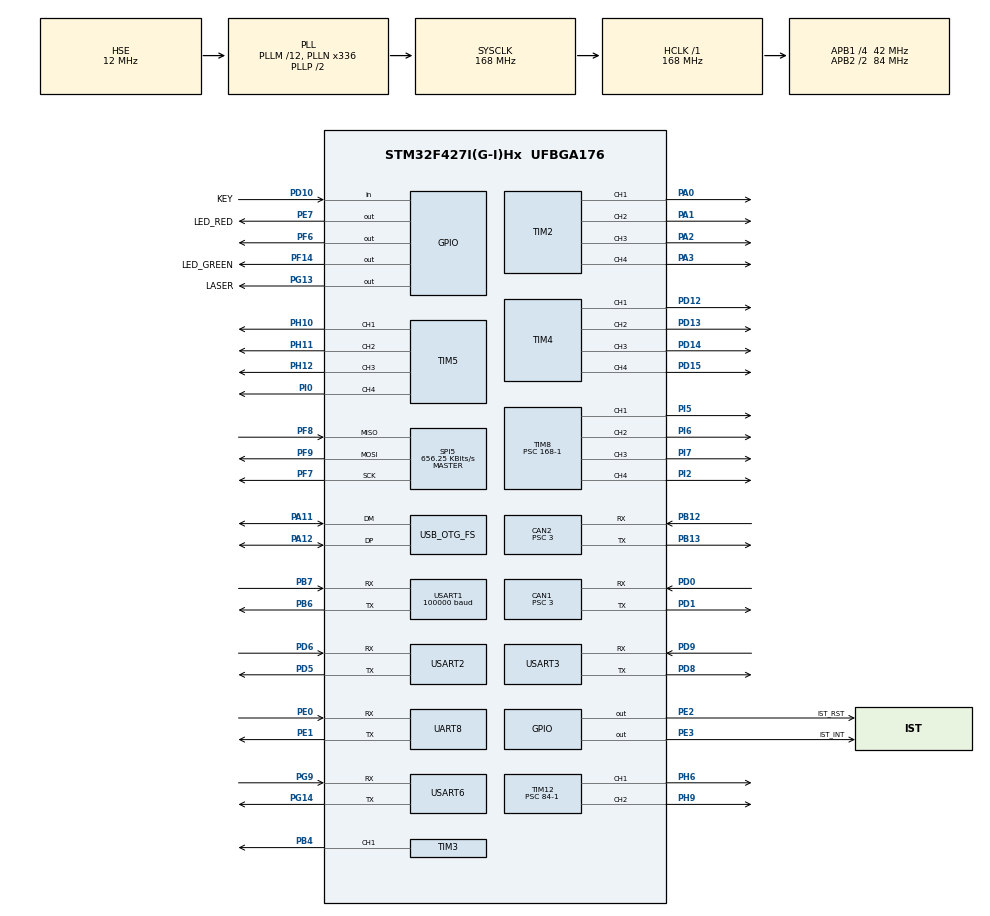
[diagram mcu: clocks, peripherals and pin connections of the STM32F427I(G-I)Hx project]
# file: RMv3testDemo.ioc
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CAN1.ABOM=DISABLE
CAN1.BS1=CAN_BS1_9TQ
CAN1.BS2=CAN_BS2_4TQ
CAN1.CalculateTimeBit=1000
CAN1.CalculateTimeQuantum=71.42857142857143
CAN1.Mode=CAN_MODE_LOOPBACK
CAN1.Prescaler=3
CAN1.SJW=CAN_SJW_1TQ
CAN1.TXFP=ENABLE
CAN2.ABOM=DISABLE
CAN2.BS1=CAN_BS1_9TQ
CAN2.BS2=CAN_BS2_4TQ
CAN2.CalculateTimeBit=1000
CAN2.CalculateTimeQuantum=71.42857142857143
CAN2.Mode=CAN_MODE_LOOPBACK
CAN2.Prescaler=3
CAN2.TXFP=ENABLE
Dma.Request0=USART1_RX
Dma.USART1_RX.0.Direction=DMA_PERIPH_TO_MEMORY
Dma.USART1_RX.0.FIFOMode=DMA_FIFOMODE_DISABLE
Dma.USART1_RX.0.Instance=DMA2_Stream2
Dma.USART1_RX.0.MemDataAlignment=DMA_MDATAALIGN_BYTE
Dma.USART1_RX.0.MemInc=DMA_MINC_ENABLE
Dma.USART1_RX.0.Mode=DMA_CIRCULAR
Dma.USART1_RX.0.PeriphDataAlignment=DMA_PDATAALIGN_BYTE
Dma.USART1_RX.0.PeriphInc=DMA_PINC_DISABLE
Dma.USART1_RX.0.Priority=DMA_PRIORITY_LOW
FREERTOS.Tasks01=defaultTask,0,128,StartDefaultTask,Default,NULL
Mcu.Family=STM32F4
Mcu.Name=STM32F427I(G-I)Hx
Mcu.Package=UFBGA176
NVIC.CAN1_RX0_IRQn=true\:7\:0\:true\:false\:true\:true\:true
NVIC.CAN1_TX_IRQn=true\:6\:0\:true\:false\:true\:true\:true
NVIC.CAN2_RX0_IRQn=true\:7\:0\:true\:false\:true\:true\:true
NVIC.CAN2_TX_IRQn=true\:6\:0\:true\:false\:true\:true\:true
NVIC.DMA2_Stream2_IRQn=true\:5\:0\:false\:false\:true\:true\:true
NVIC.OTG_FS_IRQn=true\:12\:0\:true\:false\:true\:true\:true
NVIC.PriorityGroup=NVIC_PRIORITYGROUP_4
NVIC.TIM6_DAC_IRQn=true\:11\:0\:true\:false\:true\:true\:true
NVIC.UART8_IRQn=true\:8\:0\:true\:false\:true\:true\:true
NVIC.USART1_IRQn=true\:5\:0\:true\:false\:true\:true\:true
NVIC.USART2_IRQn=true\:10\:0\:true\:false\:true\:true\:true
NVIC.USART3_IRQn=true\:10\:0\:true\:false\:true\:true\:true
PA0/WKUP.Signal=S_TIM2_CH1_ETR
PA1.Signal=S_TIM2_CH2
PA11.Mode=Device_Only
PA11.Signal=USB_OTG_FS_DM
PA12.GPIO_PuPd=GPIO_PULLUP
PA12.Mode=Device_Only
PA12.Signal=USB_OTG_FS_DP
PA13.Mode=Serial_Wire
PA13.Signal=SYS_JTMS-SWDIO
PA14.Mode=Serial_Wire
PA14.Signal=SYS_JTCK-SWCLK
PA2.Signal=S_TIM2_CH3
PA3.Signal=S_TIM2_CH4
PB12.Mode=Slave
PB12.Signal=CAN2_RX
PB13.Mode=Slave
PB13.Signal=CAN2_TX
PB4.Signal=S_TIM3_CH1
PB6.Mode=Multiprocessor_communication
PB6.Signal=USART1_TX
PB7.Mode=Multiprocessor_communication
PB7.Signal=USART1_RX
PD0.Mode=Master
PD0.Signal=CAN1_RX
PD1.Mode=Master
PD1.Signal=CAN1_TX
PD10.GPIO_Label=KEY
PD10.Signal=GPIO_Input
PD12.Signal=S_TIM4_CH1
PD13.Signal=S_TIM4_CH2
PD14.Signal=S_TIM4_CH3
PD15.Signal=S_TIM4_CH4
PD5.Mode=Multiprocessor_communication
PD5.Signal=USART2_TX
PD6.Mode=Multiprocessor_communication
PD6.Signal=USART2_RX
PD8.Mode=Multiprocessor_communication
PD8.Signal=USART3_TX
PD9.Mode=Multiprocessor_communication
PD9.Signal=USART3_RX
PE0.Mode=Asynchronous
PE0.Signal=UART8_RX
PE1.Mode=Asynchronous
PE1.Signal=UART8_TX
PE2.GPIO_Label=IST_RST
PE2.GPIO_Speed=GPIO_SPEED_FREQ_VERY_HIGH
PE2.Signal=GPIO_Output
PE3.GPIO_Label=IST_INT
PE3.GPIO_Speed=GPIO_SPEED_FREQ_VERY_HIGH
PE3.Signal=GPIO_Output
PE7.GPIO_Label=LED_RED
PE7.Signal=GPIO_Output
PF14.GPIO_Label=LED_GREEN
PF14.Signal=GPIO_Output
PF6.Signal=GPIO_Output
PF7.Mode=Full_Duplex_Master
PF7.Signal=SPI5_SCK
PF8.Mode=Full_Duplex_Master
PF8.Signal=SPI5_MISO
PF9.Mode=Full_Duplex_Master
PF9.Signal=SPI5_MOSI
PG13.GPIO_Label=LASER
PG13.Signal=GPIO_Output
PG14.Mode=Multiprocessor_communication
PG14.Signal=USART6_TX
PG9.Mode=Multiprocessor_communication
PG9.Signal=USART6_RX
PH0/OSC_IN.Mode=HSE-External-Oscillator
PH0/OSC_IN.Signal=RCC_OSC_IN
PH1/OSC_OUT.Mode=HSE-External-Oscillator
PH1/OSC_OUT.Signal=RCC_OSC_OUT
PH10.Signal=S_TIM5_CH1
PH11.Signal=S_TIM5_CH2
PH12.Signal=S_TIM5_CH3
PH6.Signal=S_TIM12_CH1
PH9.Signal=S_TIM12_CH2
PI0.Signal=S_TIM5_CH4
PI2.Signal=S_TIM8_CH4
PI5.Signal=S_TIM8_CH1
PI6.Signal=S_TIM8_CH2
PI7.Signal=S_TIM8_CH3
ProjectManager.HeapSize=0x1000
ProjectManager.StackSize=0x400
ProjectManager.TargetToolchain=SW4STM32
RCC.48MHZClocksFreq_Value=48000000
RCC.AHBFreq_Value=168000000
RCC.APB1CLKDivider=RCC_HCLK_DIV4
RCC.APB1Freq_Value=42000000
RCC.APB1TimFreq_Value=84000000
RCC.APB2CLKDivider=RCC_HCLK_DIV2
RCC.APB2Freq_Value=84000000
RCC.APB2TimFreq_Value=168000000
RCC.CortexFreq_Value=168000000
RCC.HCLKFreq_Value=168000000
RCC.HSE_VALUE=12000000
RCC.HSI_VALUE=16000000
RCC.LSE_VALUE=32768
RCC.PLLM=12
RCC.PLLN=336
RCC.PLLQ=7
RCC.SYSCLKFreq_VALUE=168000000
RCC.SYSCLKSource=RCC_SYSCLKSOURCE_PLLCLK
RCC.VCOOutputFreq_Value=336000000
SH.S_TIM12_CH1.0=TIM12_CH1,PWM Generation1 CH1
SH.S_TIM12_CH2.0=TIM12_CH2,PWM Generation2 CH2
SH.S_TIM2_CH1_ETR.0=TIM2_CH1,PWM Generation1 CH1
SH.S_TIM2_CH2.0=TIM2_CH2,PWM Generation2 CH2
SH.S_TIM2_CH3.0=TIM2_CH3,PWM Generation3 CH3
SH.S_TIM2_CH4.0=TIM2_CH4,PWM Generation4 CH4
SH.S_TIM3_CH1.0=TIM3_CH1,PWM Generation1 CH1
SH.S_TIM4_CH1.0=TIM4_CH1,PWM Generation1 CH1
SH.S_TIM4_CH2.0=TIM4_CH2,PWM Generation2 CH2
SH.S_TIM4_CH3.0=TIM4_CH3,PWM Generation3 CH3
SH.S_TIM4_CH4.0=TIM4_CH4,PWM Generation4 CH4
SH.S_TIM5_CH1.0=TIM5_CH1,PWM Generation1 CH1
SH.S_TIM5_CH2.0=TIM5_CH2,PWM Generation2 CH2
SH.S_TIM5_CH3.0=TIM5_CH3,PWM Generation3 CH3
SH.S_TIM5_CH4.0=TIM5_CH4,PWM Generation4 CH4
SH.S_TIM8_CH1.0=TIM8_CH1,PWM Generation1 CH1
SH.S_TIM8_CH2.0=TIM8_CH2,PWM Generation2 CH2
SH.S_TIM8_CH3.0=TIM8_CH3,PWM Generation3 CH3
SH.S_TIM8_CH4.0=TIM8_CH4,PWM Generation4 CH4
SPI5.BaudRatePrescaler=SPI_BAUDRATEPRESCALER_128
SPI5.CalculateBaudRate=656.25 KBits/s
SPI5.Direction=SPI_DIRECTION_2LINES
SPI5.Mode=SPI_MODE_MASTER
SPI5.VirtualType=VM_MASTER
TIM12.Channel-PWM\ Generation1\ CH1=TIM_CHANNEL_1
TIM12.Channel-PWM\ Generation2\ CH2=TIM_CHANNEL_2
TIM12.Period=2500-1
TIM12.Prescaler=84-1
TIM12.Pulse-PWM\ Generation1\ CH1=1000
TIM2.Channel-PWM\ Generation1\ CH1=TIM_CHANNEL_1
TIM2.Channel-PWM\ Generation2\ CH2=TIM_CHANNEL_2
TIM2.Channel-PWM\ Generation3\ CH3=TIM_CHANNEL_3
TIM2.Channel-PWM\ Generation4\ CH4=TIM_CHANNEL_4
TIM3.Channel-PWM\ Generation1\ CH1=TIM_CHANNEL_1
TIM3.Prescaler=84-1
TIM4.Channel-PWM\ Generation1\ CH1=TIM_CHANNEL_1
TIM4.Channel-PWM\ Generation2\ CH2=TIM_CHANNEL_2
TIM4.Channel-PWM\ Generation3\ CH3=TIM_CHANNEL_3
TIM4.Channel-PWM\ Generation4\ CH4=TIM_CHANNEL_4
TIM5.Channel-PWM\ Generation1\ CH1=TIM_CHANNEL_1
TIM5.Channel-PWM\ Generation2\ CH2=TIM_CHANNEL_2
TIM5.Channel-PWM\ Generation3\ CH3=TIM_CHANNEL_3
TIM5.Channel-PWM\ Generation4\ CH4=TIM_CHANNEL_4
TIM6.Period=1000
TIM6.Prescaler=84-1
TIM8.Channel-PWM\ Generation1\ CH1=TIM_CHANNEL_1
TIM8.Channel-PWM\ Generation2\ CH2=TIM_CHANNEL_2
TIM8.Channel-PWM\ Generation3\ CH3=TIM_CHANNEL_3
TIM8.Channel-PWM\ Generation4\ CH4=TIM_CHANNEL_4
TIM8.Prescaler=168-1
UART8.VirtualMode=Asynchronous
USART1.BaudRate=100000
USART1.Mode=UART_MODE_RX
USART1.Parity=UART_PARITY_EVEN
USART1.VirtualMode=VM_ASYNC
USART2.VirtualMode=VM_ASYNC
USART3.VirtualMode=VM_ASYNC
USART6.VirtualMode=VM_ASYNC
USB_DEVICE.CLASS_NAME_FS=CDC
USB_DEVICE.USBD_CDC_INTERVAL-CDC_FS=5
USB_DEVICE.USBD_HandleTypeDef-CDC_FS=hUsbDeviceFS
USB_DEVICE.USBD_MAX_STR_DESC_SIZ-CDC_FS=128
USB_DEVICE.VirtualMode-CDC_FS=Cdc
USB_DEVICE.VirtualModeFS=Cdc_FS
USB_OTG_FS.VirtualMode=Device_Only
USB_OTG_FS.vbus_sensing_enable=DISABLE
VP_FREERTOS_VS_ENABLE.Mode=Enabled
VP_TIM12_VS_ClockSourceINT.Mode=Internal
VP_TIM2_VS_ClockSourceINT.Mode=Internal
VP_TIM3_VS_ClockSourceINT.Mode=Internal
VP_TIM4_VS_ClockSourceINT.Mode=Internal
VP_TIM5_VS_ClockSourceINT.Mode=Internal
VP_TIM6_VS_ClockSourceINT.Mode=Enable_Timer
VP_TIM8_VS_ClockSourceINT.Mode=Internal
VP_USB_DEVICE_VS_USB_DEVICE_CDC_FS.Mode=CDC_FS
board=RMv3testDemo

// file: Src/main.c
/**
  ******************************************************************************
  * File Name          : main.c
  * Description        : Main program body
  ******************************************************************************
  *
  * Copyright (c) 2019 STMicroelectronics International N.V.
  * All rights reserved.
  *
  * Redistribution and use in source and binary forms, with or without
  * modification, are permitted, provided that the following conditions are met:
  *
  * 1. Redistribution of source code must retain the above copyright notice,
  *    this list of conditions and the following disclaimer.
  * 2. Redistributions in binary form must reproduce the above copyright notice,
  *    this list of conditions and the following disclaimer in the documentation
  *    and/or other materials provided with the distribution.
  * 3. Neither the name of STMicroelectronics nor the names of other
  *    contributors to this software may be used to endorse or promote products
  *    derived from this software without specific written permission.
  * 4. This software, including modifications and/or derivative works of this
  *    software, must execute solely and exclusively on microcontroller or
  *    microprocessor devices manufactured by or for STMicroelectronics.
  * 5. Redistribution and use of this software other than as permitted under
  *    this license is void and will automatically terminate your rights under
  *    this license.
  *
  * THIS SOFTWARE IS PROVIDED BY STMICROELECTRONICS AND CONTRIBUTORS "AS IS"
  * AND ANY EXPRESS, IMPLIED OR STATUTORY WARRANTIES, INCLUDING, BUT NOT
  * LIMITED TO, THE IMPLIED WARRANTIES OF MERCHANTABILITY, FITNESS FOR A
  * PARTICULAR PURPOSE AND NON-INFRINGEMENT OF THIRD PARTY INTELLECTUAL PROPERTY
  * RIGHTS ARE DISCLAIMED TO THE FULLEST EXTENT PERMITTED BY LAW. IN NO EVENT
  * SHALL STMICROELECTRONICS OR CONTRIBUTORS BE LIABLE FOR ANY DIRECT, INDIRECT,
  * INCIDENTAL, SPECIAL, EXEMPLARY, OR CONSEQUENTIAL DAMAGES (INCLUDING, BUT NOT
  * LIMITED TO, PROCUREMENT OF SUBSTITUTE GOODS OR SERVICES; LOSS OF USE, DATA,
  * OR PROFITS; OR BUSINESS INTERRUPTION) HOWEVER CAUSED AND ON ANY THEORY OF
  * LIABILITY, WHETHER IN CONTRACT, STRICT LIABILITY, OR TORT (INCLUDING
  * NEGLIGENCE OR OTHERWISE) ARISING IN ANY WAY OUT OF THE USE OF THIS SOFTWARE,
  * EVEN IF ADVISED OF THE POSSIBILITY OF SUCH DAMAGE.
  *
  ******************************************************************************
  */
#include "main.h"
#include "stm32f4xx_hal.h"
#include "cmsis_os.h"
#include "can.h"
#include "dma.h"
#include "spi.h"
#include "tim.h"
#include "usart.h"
#include "usb_device.h"
#include "gpio.h"
#include "bsp_uart.h"

/* USER CODE BEGIN PV */
/* Private variables ---------------------------------------------------------*/

/* USER CODE END PV */

void SystemClock_Config(void);
void Error_Handler(void);
void MX_FREERTOS_Init(void);

/* USER CODE BEGIN PFP */
/* Private function prototypes -----------------------------------------------*/
void Init_Periphals();
/* USER CODE END PFP */

int main(void){
  HAL_Init();

  SystemClock_Config();

  Init_Periphals ();

  MX_FREERTOS_Init ();

  osKernelStart();
  for(;;){

  }
}

/** System Clock Configuration
*/
void SystemClock_Config(void)
{

  RCC_OscInitTypeDef RCC_OscInitStruct;
  RCC_ClkInitTypeDef RCC_ClkInitStruct;

    /**Configure the main internal regulator output voltage
    */
  __HAL_RCC_PWR_CLK_ENABLE();

  __HAL_PWR_VOLTAGESCALING_CONFIG(PWR_REGULATOR_VOLTAGE_SCALE1);

    /**Initializes the CPU, AHB and APB busses clocks
    */
  RCC_OscInitStruct.OscillatorType = RCC_OSCILLATORTYPE_HSE;
  RCC_OscInitStruct.HSEState = RCC_HSE_ON;
  RCC_OscInitStruct.PLL.PLLState = RCC_PLL_ON;
  RCC_OscInitStruct.PLL.PLLSource = RCC_PLLSOURCE_HSE;
  RCC_OscInitStruct.PLL.PLLM = 12;
  RCC_OscInitStruct.PLL.PLLN = 336;
  RCC_OscInitStruct.PLL.PLLP = RCC_PLLP_DIV2;
  RCC_OscInitStruct.PLL.PLLQ = 7;
  if (HAL_RCC_OscConfig(&RCC_OscInitStruct) != HAL_OK)
  {
    Error_Handler();
  }

    /**Initializes the CPU, AHB and APB busses clocks
    */
  RCC_ClkInitStruct.ClockType = RCC_CLOCKTYPE_HCLK|RCC_CLOCKTYPE_SYSCLK
                              |RCC_CLOCKTYPE_PCLK1|RCC_CLOCKTYPE_PCLK2;
  RCC_ClkInitStruct.SYSCLKSource = RCC_SYSCLKSOURCE_PLLCLK;
  RCC_ClkInitStruct.AHBCLKDivider = RCC_SYSCLK_DIV1;
  RCC_ClkInitStruct.APB1CLKDivider = RCC_HCLK_DIV4;
  RCC_ClkInitStruct.APB2CLKDivider = RCC_HCLK_DIV2;

  if (HAL_RCC_ClockConfig(&RCC_ClkInitStruct, FLASH_LATENCY_5) != HAL_OK)
  {
    Error_Handler();
  }

    /**Configure the Systick interrupt time
    */
  HAL_SYSTICK_Config(HAL_RCC_GetHCLKFreq()/1000);

    /**Configure the Systick
    */
  HAL_SYSTICK_CLKSourceConfig(SYSTICK_CLKSOURCE_HCLK);

  /* SysTick_IRQn interrupt configuration */
  HAL_NVIC_SetPriority(SysTick_IRQn, 15, 0);
}

/* USER CODE BEGIN 4 */
void Init_Periphals(){
  MX_GPIO_Init();
  MX_DMA_Init();
  MX_CAN1_Init();
  MX_CAN2_Init();
  MX_SPI5_Init();
  MX_TIM2_Init();
  MX_TIM4_Init();
  MX_TIM5_Init();
  MX_TIM6_Init();
  MX_TIM8_Init();
  MX_TIM12_Init();
  MX_USART1_UART_Init();
  MX_USART2_UART_Init();
  MX_USART3_UART_Init();
  MX_USART6_UART_Init();
  MX_TIM3_Init();
  MX_UART8_Init();
  RemoteCtl_Data_Receive_Start ();
}
/* USER CODE END 4 */

void Error_Handler(void)
{
  while(1)
  {
  }
}

/************************ (C) COPYRIGHT STMicroelectronics *****END OF FILE****/

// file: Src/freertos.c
/**
  ******************************************************************************
  * File Name          : freertos.c
  * Description        : Code for freertos applications
  ******************************************************************************
  *
  * Copyright (c) 2019 STMicroelectronics International N.V.
  * All rights reserved.
  *
  * Redistribution and use in source and binary forms, with or without
  * modification, are permitted, provided that the following conditions are met:
  *
  * 1. Redistribution of source code must retain the above copyright notice,
  *    this list of conditions and the following disclaimer.
  * 2. Redistributions in binary form must reproduce the above copyright notice,
  *    this list of conditions and the following disclaimer in the documentation
  *    and/or other materials provided with the distribution.
  * 3. Neither the name of STMicroelectronics nor the names of other
  *    contributors to this software may be used to endorse or promote products
  *    derived from this software without specific written permission.
  * 4. This software, including modifications and/or derivative works of this
  *    software, must execute solely and exclusively on microcontroller or
  *    microprocessor devices manufactured by or for STMicroelectronics.
  * 5. Redistribution and use of this software other than as permitted under
  *    this license is void and will automatically terminate your rights under
  *    this license.
  *
  * THIS SOFTWARE IS PROVIDED BY STMICROELECTRONICS AND CONTRIBUTORS "AS IS"
  * AND ANY EXPRESS, IMPLIED OR STATUTORY WARRANTIES, INCLUDING, BUT NOT
  * LIMITED TO, THE IMPLIED WARRANTIES OF MERCHANTABILITY, FITNESS FOR A
  * PARTICULAR PURPOSE AND NON-INFRINGEMENT OF THIRD PARTY INTELLECTUAL PROPERTY
  * RIGHTS ARE DISCLAIMED TO THE FULLEST EXTENT PERMITTED BY LAW. IN NO EVENT
  * SHALL STMICROELECTRONICS OR CONTRIBUTORS BE LIABLE FOR ANY DIRECT, INDIRECT,
  * INCIDENTAL, SPECIAL, EXEMPLARY, OR CONSEQUENTIAL DAMAGES (INCLUDING, BUT NOT
  * LIMITED TO, PROCUREMENT OF SUBSTITUTE GOODS OR SERVICES; LOSS OF USE, DATA,
  * OR PROFITS; OR BUSINESS INTERRUPTION) HOWEVER CAUSED AND ON ANY THEORY OF
  * LIABILITY, WHETHER IN CONTRACT, STRICT LIABILITY, OR TORT (INCLUDING
  * NEGLIGENCE OR OTHERWISE) ARISING IN ANY WAY OUT OF THE USE OF THIS SOFTWARE,
  * EVEN IF ADVISED OF THE POSSIBILITY OF SUCH DAMAGE.
  *
  ******************************************************************************
  */

#include <memory.h>
#include "FreeRTOS.h"
#include "task.h"
#include "cmsis_os.h"
#include "stm32f4xx_it.h"
#include "stm32f4xx_hal.h"
/* USER CODE BEGIN Includes */
#include "can.h"
#include "usart.h"

#include "task.h"
#include "../cpp-src/Boot.h"
/* USER CODE END Includes */

static osThreadId CANTaskHandle;
static osThreadId RemoteTaskHandle;
static osThreadId IMUTaskHandle;
static osThreadId ChassisTaskHandle;
static osThreadId YuntaiTaskHandle;
static osThreadId ShootTaskHandle;
static osTimerDef_t can_timer;
osTimerId TimId;

extern void MX_USB_DEVICE_Init(void);
void MX_FREERTOS_Init(void); /* (MISRA C 2004 rule 8.1) */
/* USER CODE BEGIN FunctionPrototypes */
void CANTask(void const * argument);
void IMUTask(void const * argument);
void RemoteTask(void const * argument);
void ChassisTask(void const * argument);
void YuntaiTask(void const * argument);
void ShootTask(void const * argument);
/* USER CODE END FunctionPrototypes */
/* Hook prototypes */

/* Init FreeRTOS */

void MX_FREERTOS_Init(void) {
  /* USER CODE BEGIN Init */
  KernelStart ();
  /* USER CODE END Init */

  /* USER CODE BEGIN RTOS_TIMERS */
  /* start timers, add new ones, ... */
  TimId = osTimerCreate (&can_timer,osTimerPeriodic,CANTaskHandle);
  /* USER CODE END RTOS_TIMERS */

  /* Create the thread(s) */

  osThreadDef(CANDEF,CANTask,osPriorityHigh,0,512);
  CANTaskHandle = osThreadCreate (osThread(CANDEF),NULL);

//  osThreadDef(IMUDEF,IMUTask,osPriorityHigh,0,512);
//  IMUTaskHandle = osThreadCreate (osThread(IMUDEF),NULL);

//  osThreadDef(YUNTAIDEF, YuntaiTask, osPriorityHigh, 0, 512);
//  YuntaiTaskHandle = osThreadCreate(osThread(YUNTAIDEF), NULL);

//  osThreadDef(REMOTEDEF,RemoteTask,osPriorityHigh,0,256);
//  RemoteTaskHandle = osThreadCreate (osThread(REMOTEDEF),NULL);

//  osThreadDef(CHASSISDEF,ChassisTask,osPriorityHigh,0,512);
//  ChassisTaskHandle = osThreadCreate (osThread(CHASSISDEF),NULL);

  osThreadDef(SHOOTDEF, ShootTask, osPriorityHigh,0,512);
  ShootTaskHandle = osThreadCreate (osThread(SHOOTDEF), NULL);

  /* USER CODE BEGIN RTOS_QUEUES */
  /* add queues, ... */
  osTimerStart (TimId, 15);
  /* USER CODE END RTOS_QUEUES */
}

/* USER CODE BEGIN Application */
void CANTask(void const * argument){

    for(;;){

        osCanTask ();

    }
}
void IMUTask(void const * argument){
    for(;;){
        osIMUTask ();
        osDelay (15);

    }
}
void ChassisTask(void const * argument){
    for(;;){
        osChassisTask ();
        osDelay (10);
    }
}
void YuntaiTask(void const * argument){
    for(;;){
        osYuntaiTask ();
        osDelay (10);
    }
}
void RemoteTask(void const *argument){

    for(;;){
        osSignalWait (0x01,100);
        osRemoteTask ();
        osDelay (10);
    }
}

void ShootTask(void const *argument){
    for(;;){

        osShootTask ();
        osDelay(15);
    }
}

void HAL_UART_RxCpltCallback(UART_HandleTypeDef *huart){
    osSignalSet (RemoteTaskHandle,0x01);
}

/* USER CODE END Application */
/************************ (C) COPYRIGHT STMicroelectronics *****END OF FILE****/
